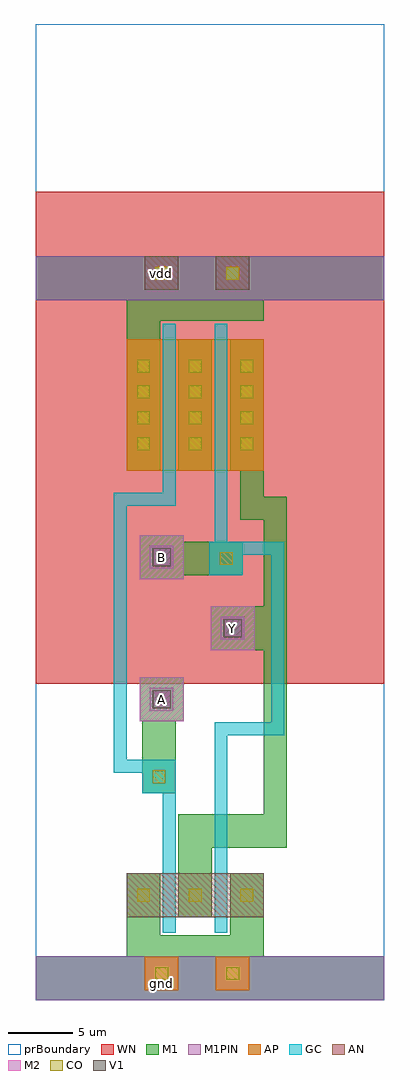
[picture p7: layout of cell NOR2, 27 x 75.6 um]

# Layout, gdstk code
import gdstk
lib = gdstk.Library(unit=1e-6, precision=1e-09)
def R(c, l, rs):  # rectangles x0, y0, x1, y1
    for r in rs: c.add(gdstk.rectangle(r[:2], r[2:], *l))
def A(c, l, x, y, w, h, nx, ny, dx, dy):  # array of equal rectangles
    R(c, l, [(x+i*dx, y+j*dy, x+i*dx+w, y+j*dy+h) for i in range(nx) for j in range(ny)])
def P(c, l, *ps):  # polygons
    for p in ps: c.add(gdstk.Polygon(p, *l))
AP = (3, 1)
AN = (3, 2)
GC = (8, 1)
CO = (11, 0)
M1 = (13, 0)
V1 = (19, 0)
M2 = (20, 0)
M1PIN = (48, 1)
WN = (140, 0)
prBoundary = (235, 4)

nor2 = lib.new_cell('NOR2')
R(nor2, AP, [(8.45,0.75,11.05,3.35), (13.95,0.75,16.55,3.35), (7.05,41,17.65,51.2)])
R(nor2, AN, [(7.05,6.4,17.65,9.8), (8.45,55,11.05,57.6), (13.95,55,16.55,57.6)])
P(nor2, GC, [(9.85,5.2),(9.85,16),(8.25,16),(8.25,17.6),(6.05,17.6),(6.05,39.3),(9.85,39.3),(9.85,52.4),(10.85,52.4),(10.85,38.3),(7.05,38.3),(7.05,18.6),(10.85,18.6),(10.85,5.2)],
  [(13.85,5.2),(13.85,21.5),(18.25,21.5),(18.25,34.5),(16.05,34.5),(16.05,32.9),(13.45,32.9),(13.45,35.5),(13.85,35.5),(13.85,52.4),(14.85,52.4),(14.85,35.5),(19.25,35.5),(19.25,20.5),(14.85,20.5),(14.85,5.2)])
A(nor2, CO, 7.85, 7.6, 1, 1, 3, 2, 4, 35)
A(nor2, CO, 7.85, 44.6, 1, 1, 3, 3, 4, 2)
R(nor2, CO, [(9.25,1.55,10.25,2.55), (14.75,1.55,15.75,2.55), (9.05,16.8,10.05,17.8), (14.25,33.7,15.25,34.7), (9.25,55.8,10.25,56.8), (14.75,55.8,15.75,56.8)])
R(nor2, M1, [(11.05,41,13.65,51.2)])
P(nor2, M1, [(0,0),(0,3.4),(7.05,3.4),(7.05,9.8),(9.65,9.8),(9.65,5),(15.05,5),(15.05,9.8),(17.65,9.8),(17.65,3.4),(27,3.4),(27,0)],
  [(8.25,16),(8.25,21.6),(8.05,21.6),(8.05,25),(11.45,25),(11.45,21.6),(10.85,21.6),(10.85,16)],
  [(8.05,32.6),(8.05,36),(11.45,36),(11.45,35.5),(16.05,35.5),(16.05,32.9),(11.45,32.9),(11.45,32.6)],
  [(11.05,6.4),(11.05,14.4),(17.65,14.4),(17.65,27.1),(13.55,27.1),(13.55,30.5),(17.65,30.5),(17.65,37.2),(15.85,37.2),(15.85,41),(15.05,41),(15.05,51.2),(17.65,51.2),(17.65,39),(19.45,39),(19.45,11.8),(13.65,11.8),(13.65,6.4)],
  [(7.05,41),(7.05,54.2),(0,54.2),(0,57.6),(27,57.6),(27,54.2),(17.65,54.2),(17.65,52.6),(9.65,52.6),(9.65,41)])
R(nor2, V1, [(9.05,22.6,10.45,24), (14.55,28.1,15.95,29.5), (9.05,33.6,10.45,35)])
R(nor2, M2, [(8.05,21.6,11.45,25), (13.55,27.1,16.95,30.5), (8.05,32.6,11.45,36)])
R(nor2, M1PIN, [(0,0,27,3.4), (8.85,22.4,10.65,24.2), (14.35,27.9,16.15,29.7), (8.85,33.4,10.65,35.2), (0,54.2,27,57.6)])
R(nor2, WN, [(0,24.5,27,62.6)])
R(nor2, prBoundary, [(0,0,27,75.6)])
nor2.add(gdstk.Label('gnd', (9.75,1.3), layer=48, texttype=0))
nor2.add(gdstk.Label('vdd', (9.75,56.3), layer=48, texttype=0))
nor2.add(gdstk.Label('A', (9.75,23.3), layer=48, texttype=0))
nor2.add(gdstk.Label('B', (9.75,34.3), layer=48, texttype=0))
nor2.add(gdstk.Label('Y', (15.25,28.8), layer=48, texttype=0))
nor2.add(gdstk.Label('A', (9.75,23.3), layer=49, texttype=0))
nor2.add(gdstk.Label('B', (9.75,34.3), layer=49, texttype=0))
nor2.add(gdstk.Label('Y', (15.25,28.8), layer=49, texttype=0))

lib.write_gds('NOR2.gds')
